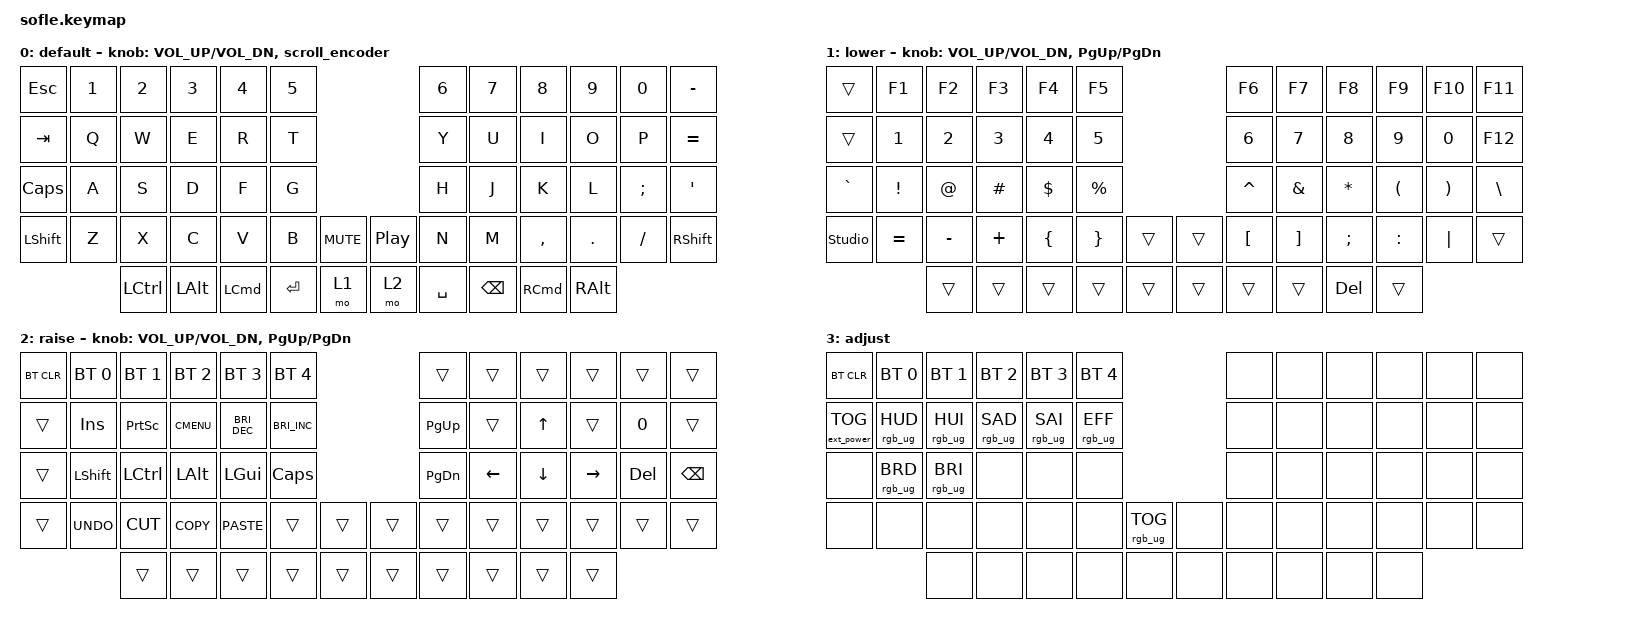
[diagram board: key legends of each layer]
/*
 * Copyright (c) 2020 The ZMK Contributors
 *
 * SPDX-License-Identifier: MIT
 */

#define ZMK_POINTING_DEFAULT_MOVE_VAL 1200  // 600
#define ZMK_POINTING_DEFAULT_SCRL_VAL 25   // 10

#include <behaviors.dtsi>
#include <dt-bindings/zmk/bt.h>
#include <dt-bindings/zmk/ext_power.h>
#include <dt-bindings/zmk/keys.h>
#include <dt-bindings/zmk/pointing.h>
#include <dt-bindings/zmk/rgb.h>

#define BASE 0
#define LOWER 1
#define RAISE 2
#define ADJUST 3

&msc {
    acceleration-exponent = <1>;      // 0
    time-to-max-speed-ms = <100>;       // 300
    delay-ms = <0>;                   // 0
};

&mmv {
    time-to-max-speed-ms = <500>;
    acceleration-exponent = <1>;
    trigger-period-ms = <16>;
};

/ {
    scroll_encoder: scroll_encoder {
        compatible = "zmk,behavior-sensor-rotate";
        #sensor-binding-cells = <0>;
        bindings = <&msc SCRL_DOWN>, <&msc SCRL_UP>;

        tap-ms = <100>;
    };

    // Activate ADJUST layer by pressing raise and lower

    conditional_layers {
        compatible = "zmk,conditional-layers";

        adjust_layer {
            if-layers = <LOWER RAISE>;
            then-layer = <ADJUST>;
        };
    };

    behaviors {
    };

    keymap {
        compatible = "zmk,keymap";

        default_layer {
            display-name = "default";

            // ------------------------------------------------------------------------------------------------------------
            // |  ESC  |  1  |  2  |  3   |  4   |  5   |                   |  6   |  7    |  8    |  9   |   0   | BKSPC |
            // |  TAB  |  Q  |  W  |  E   |  R   |  T   |                   |  Y   |  U    |  I    |  O   |   P   | DEL   |
            // | SHIFT |  A  |  S  |  D   |  F   |  G   |                   |  H   |  J    |  K    |  L   |   ;   |   '   |
            // |  CTRL |  Z  |  X  |  C   |  V   |  B   |  MUTE  |  |       |  N   |  M    |  ,    |  .   |   /   | SHIFT |
            //               | GUI | ALT  | CTRL | LOWER|  ENTER |  | SPACE | RAISE| CTRL  | ALT   | GUI  |

            bindings = <
&kp ESC     &kp N1  &kp N2     &kp N3    &kp N4    &kp N5                                   &kp N6     &kp N7         &kp N8     &kp N9    &kp N0    &kp MINUS
&kp TAB     &kp Q   &kp W      &kp E     &kp R     &kp T                                    &kp Y      &kp U          &kp I      &kp O     &kp P     &kp EQUAL
&kp CAPS    &kp A   &kp S      &kp D     &kp F     &kp G                                    &kp H      &kp J          &kp K      &kp L     &kp SEMI  &kp SQT
&kp LSHIFT  &kp Z   &kp X      &kp C     &kp V     &kp B    &kp C_MUTE    &kp C_PLAY_PAUSE  &kp N      &kp M          &kp COMMA  &kp DOT   &kp FSLH  &kp RSHFT
                    &kp LCTRL  &kp LALT  &kp LCMD  &kp RET  &mo 1         &mo 2             &kp SPACE  &kp BACKSPACE  &kp RCMD   &kp RALT
            >;

            sensor-bindings = <&inc_dec_kp C_VOL_UP C_VOL_DN &scroll_encoder>;
        };

        lower_layer {
            display-name = "lower";

            // TODO: Some binds are waiting for shifted keycode support.
            // ------------------------------------------------------------------------------------------------------------
            // |       |  F1 |  F2 |  F3  |  F4  |  F5  |                   |  F6  |  F7   |  F8   |  F9  |  F10  |  F11  |
            // |   `   |  1  |  2  |  3   |  4   |  5   |                   |  6   |  7    |  8    |  9   |   0   |  F12  |
            // |       |  !  |  @  |  #   |  $   |  %   |                   |  ^   |  &    |  *    |  (   |   )   |   |   |
            // |       |  =  |  -  |  +   |  {   |  }   |        |  |       |  [   |  ]    |  ;    |  :   |   \   |       |
            //               |     |      |      |      |        |  |       |      |       |       |      |

            bindings = <
&trans          &kp F1        &kp F2        &kp F3        &kp F4        &kp F5                       &kp F6        &kp F7    &kp F8        &kp F9     &kp F10   &kp F11
&trans          &kp NUMBER_1  &kp NUMBER_2  &kp NUMBER_3  &kp NUMBER_4  &kp N5                       &kp NUMBER_6  &kp N7    &kp N8        &kp N9     &kp N0    &kp F12
&kp GRAVE       &kp EXCL      &kp AT        &kp HASH      &kp DLLR      &kp PRCNT                    &kp CARET     &kp AMPS  &kp ASTERISK  &kp LPAR   &kp RPAR  &kp BSLH
&studio_unlock  &kp EQUAL     &kp MINUS     &kp PLUS      &kp LBRC      &kp RBRC   &trans    &trans  &kp LBKT      &kp RBKT  &kp SEMI      &kp COLON  &kp PIPE  &trans
                              &trans        &trans        &trans        &trans     &trans    &trans  &trans        &trans    &kp DEL       &trans
            >;

            sensor-bindings = <&inc_dec_kp C_VOL_UP C_VOL_DN &inc_dec_kp PG_UP PG_DN>;
        };

        raise_layer {
            display-name = "raise";

            // ------------------------------------------------------------------------------------------------------------
            // | BTCLR | BT1  | BT2  |  BT3  |  BT4  |  BT5 |                |      |      |       |      |       |       |
            // |       | INS  | PSCR | GUI   |       |      |                | PGUP |      |   ^   |      |       |       |
            // |       | ALT  | CTRL | SHIFT |       | CAPS |                | PGDN |   <- |   v   |  ->  |  DEL  | BKSPC |
            // |       | UNDO | CUT  | COPY  | PASTE |      |      |  |      |      |      |       |      |       |       |
            //                |      |       |       |      |      |  |      |      |      |       |      |

            bindings = <
&bt BT_CLR  &bt BT_SEL 0  &bt BT_SEL 1  &bt BT_SEL 2  &bt BT_SEL 3   &bt BT_SEL 4                            &trans     &trans    &trans    &trans     &trans   &trans
&trans      &kp INS       &kp PSCRN     &kp K_CMENU   &kp C_BRI_DEC  &kp C_BRIGHTNESS_INC                    &kp PG_UP  &trans    &kp UP    &trans     &kp N0   &trans
&trans      &kp LSHIFT    &kp LCTRL     &kp LALT      &kp LGUI       &kp CLCK                                &kp PG_DN  &kp LEFT  &kp DOWN  &kp RIGHT  &kp DEL  &kp BSPC
&trans      &kp K_UNDO    &kp K_CUT     &kp K_COPY    &kp K_PASTE    &trans                &trans    &trans  &trans     &trans    &trans    &trans     &trans   &trans
                          &trans        &trans        &trans         &trans                &trans    &trans  &trans     &trans    &trans    &trans
            >;

            sensor-bindings = <&inc_dec_kp C_VOL_UP C_VOL_DN &inc_dec_kp PG_UP PG_DN>;
        };

        adjust_layer {
            // ----------------------------------------------------------------------------------------------------------------------------
            // | BTCLR  |  BT1    |  BT2    |   BT3   |   BT4   |   BT5   |                  |      |      |       |      |       |       |
            // | EXTPWR | RGB_HUD | RGB_HUI | RGB_SAD | RGB_SAI | RGB_EFF |                  |      |      |       |      |       |       |
            // |        | RGB_BRD | RGB_BRI |         |         |         |                  |      |      |       |      |       |       |
            // |        |         |         |         |         |         | RGB_TOG | |      |      |      |       |      |       |       |
            //                    |         |         |         |         |         | |      |      |      |       |      |

            display-name = "adjust";
            bindings = <
&bt BT_CLR         &bt BT_SEL 0     &bt BT_SEL 1     &bt BT_SEL 2     &bt BT_SEL 3     &bt BT_SEL 4                               &none  &none  &none  &none  &none  &none
&ext_power EP_TOG  &rgb_ug RGB_HUD  &rgb_ug RGB_HUI  &rgb_ug RGB_SAD  &rgb_ug RGB_SAI  &rgb_ug RGB_EFF                            &none  &none  &none  &none  &none  &none
&none              &rgb_ug RGB_BRD  &rgb_ug RGB_BRI  &none            &none            &none                                      &none  &none  &none  &none  &none  &none
&none              &none            &none            &none            &none            &none            &rgb_ug RGB_TOG    &none  &none  &none  &none  &none  &none  &none
                                    &none            &none            &none            &none            &none              &none  &none  &none  &none  &none
            >;
        };
    };
};
